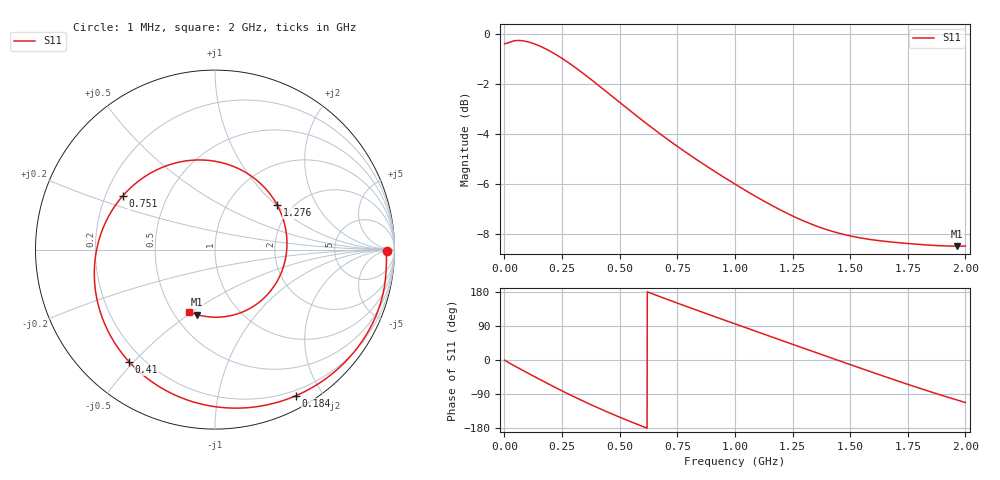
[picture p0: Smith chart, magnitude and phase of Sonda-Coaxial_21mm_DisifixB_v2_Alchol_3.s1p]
! TOUCHSTONE file generated by CST MICROWAVE STUDIO
! Date and time: Sat Aug  1 23:57:46 2026
! Project name: Sonda-Coaxial_21mm_DisifixB_v2_Alchol.cst
! Parameters = {h_recipiente=20; l_conector=50; r_arandela=35; r_ext=10.5; r_int=3; r_recipiente=100; z_recipiente=-50}
! Header version: 2018
! Port assignment regex: !\s*Touchstone port\s*([0-9]+)\s*=\s*(CST MWS port|CST DS port)\s*([0-9]+|Zmin|Zmax)\s*\(\"(.*)\"\)(\s*mode\s*([0-9]+))?.*
! Touchstone port assignment:
! Touchstone port 1 = CST MWS port 1 ("")
# GHz S RI R 50
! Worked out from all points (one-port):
!   2000 points, 1 MHz to 2 GHz, reference 50 ohm
!   lowest |S11| = -8.5 dB at 1.962 GHz (marker M1), VSWR 2.20, Z = 32.1 - j27.1 ohm
!   |S11| at or under -10 dB: nowhere
!   S11 on the Smith chart (normalised r, x): 1 MHz: 43, -6; 184 MHz: 0.14, -1.69; 410 MHz: 0.15, -0.49; 751 MHz: 0.27, +0.25; 1.276 GHz: 1.67, +1.02; 2 GHz: 0.60, -0.49
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0.001  0.9556 -0.00634
0.043  0.9341 -0.2552
0.083  0.8511 -0.4608
0.135  0.6699 -0.6776
0.184  0.4514 -0.8138
0.217  0.2925 -0.8646
0.251  0.1282 -0.8832
0.323  -0.191 -0.824
0.367  -0.3518 -0.7366
0.41  -0.4775 -0.6261
0.455  -0.5743 -0.4943
0.501  -0.6378 -0.352
0.556  -0.6708 -0.1827
0.615  -0.6618 -0.0126
0.679  -0.6107 0.1498
0.751  -0.5149 0.298
0.875  -0.2931 0.4584
1.001  -0.0455 0.4979
1.116  0.1565 0.4381
1.251  0.3248 0.2844
1.276  0.3457 0.2496
1.387  0.3982 0.0847
1.501  0.3848 -0.0839
1.634  0.2934 -0.2492
1.751  0.1641 -0.3431
1.854  0.0338 -0.3757
1.962  -0.0991 -0.3624
2  -0.1425 -0.3479
